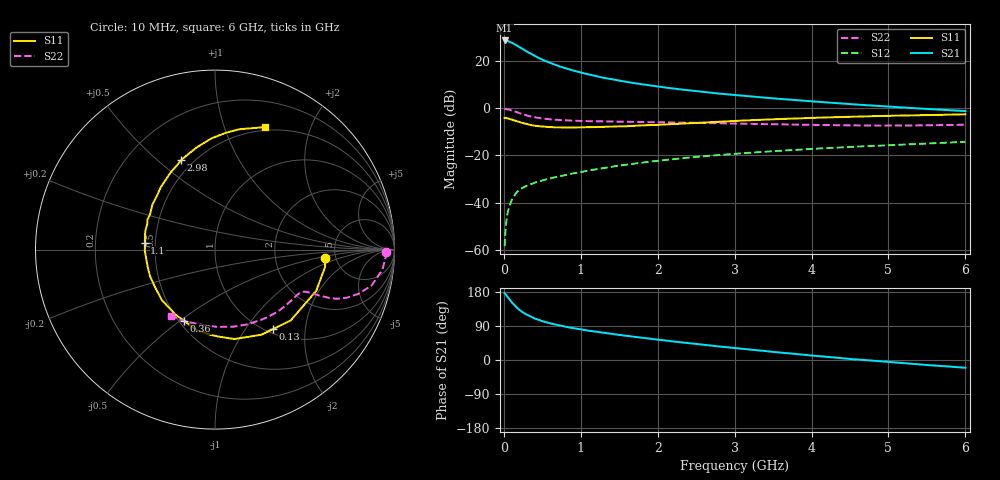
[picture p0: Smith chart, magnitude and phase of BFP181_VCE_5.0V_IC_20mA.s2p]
! Infineon Technologies  Discrete & RF Semiconductors
! BFP181
! VCE = 5.0 V,  IC =  20 mA
! Common Emitter S-Parameters:  Jan 2016
# GHz  S  MA  R  50
!  f  S11  S21  S12  S22
! GHz  MAG  ANG  MAG  ANG  MAG  ANG  MAG  ANG
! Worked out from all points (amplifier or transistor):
!   210 points, 10 MHz to 6 GHz, reference 50 ohm
!   highest |S21| = 28.6 dB at 10 MHz (marker M1)
!   |S21| within 3 dB of that: start of sweep to 214.2 MHz
!   unconditionally stable (mu >= 1): start of sweep to 10.01405 MHz; 689.6 MHz to end of sweep
!   at 185 MHz: K = 0.41, MSG = 30.6 dB, |S12| = -35.1 dB
!   at 1.52 GHz: K = 1.24, MAG = 14.9 dB, |S12| = -24.3 dB
!   at 6 GHz: K = 1.02, MAG = 5.7 dB, |S12| = -14.3 dB
!   S11 on the Smith chart (normalised r, x): 10 MHz: 4.13, -0.60; 130 MHz: 1.07, -1.36; 360 MHz: 0.53, -0.52; 1.1 GHz: 0.44, +0.04; 2.98 GHz: 0.43, +0.60; 6 GHz: 0.46, +1.38
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0.01  0.6172 -4.2  26.79 176.6  0.0012 75.4  0.9547 -0.8
0.05  0.609 -22.2  26.21 165.8  0.0063 84.8  0.9398 -6.8
0.1  0.5776 -43.1  24.15 153.0  0.0111 70.0  0.8964 -12.8
0.13  0.5483 -53.8  22.71 146.5  0.0135 66.7  0.8594 -15.4
0.15  0.5402 -61.4  21.93 141.7  0.0152 65.1  0.8357 -17.2
0.2  0.51 -77.7  19.64 132.5  0.0187 61.7  0.7807 -20.1
0.26  0.4748 -93.3  16.99 124.0  0.0212 57.7  0.7238 -22.2
0.3  0.4599 -102.7  15.54 119.3  0.0228 56.1  0.6924 -22.9
0.36  0.4328 -113.4  13.76 113.9  0.0249 55.1  0.6584 -23.4
0.4  0.424 -121.2  12.66 109.5  0.0263 54.6  0.6357 -23.8
0.5  0.4084 -136.3  10.48 102.4  0.0296 52.7  0.6 -24.2
0.6  0.3945 -147.7  9.006 96.8  0.0324 54.5  0.5759 -24.5
0.8  0.3874 -165.5  6.921 87.7  0.038 55.0  0.5487 -25.3
1.02  0.3913 179.4  5.506 80.1  0.0448 55.8  0.5313 -26.9
1.1  0.3934 174.3  5.135 77.4  0.0476 55.7  0.5272 -27.7
1.5  0.4117 156.2  3.786 66.0  0.0606 55.5  0.5142 -32.1
2.02  0.442 136.7  2.811 53.3  0.0771 53.3  0.5001 -39.5
2.98  0.5323 110.8  1.893 31.9  0.107 47.1  0.4697 -55.6
3.1  0.542 108.2  1.82 29.7  0.1105 46.2  0.4652 -57.9
4.1  0.6261 90.3  1.346 10.1  0.1394 38.3  0.438 -78.9
5.1  0.6888 77.3  1.047 -6.7  0.1666 30.7  0.4252 -102.3
6  0.7363 68.0  0.861 -20.5  0.1927 23.1  0.4447 -123.7
